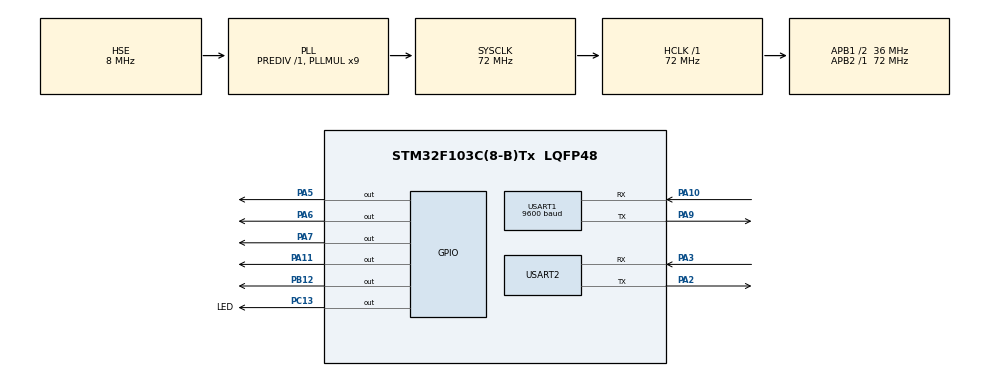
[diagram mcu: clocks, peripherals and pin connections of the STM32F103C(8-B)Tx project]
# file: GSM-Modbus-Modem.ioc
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FREERTOS.Tasks01=defaultTask,0,128,StartDefaultTask,Default,NULL,Dynamic,NULL,NULL;modbusMastertas,0,128,modbusMasterSend,Default,NULL,Dynamic,NULL,NULL;modbusMaster,0,128,modbusMasterReception,Default,NULL,Dynamic,NULL,NULL
FREERTOS.configUSE_NEWLIB_REENTRANT=0
Mcu.Family=STM32F1
Mcu.Name=STM32F103C(8-B)Tx
Mcu.Package=LQFP48
NVIC.PriorityGroup=NVIC_PRIORITYGROUP_4
NVIC.TIM3_IRQn=true\:15\:0\:false\:false\:true\:false\:false\:true\:true
NVIC.TimeBase=TIM3_IRQn
NVIC.TimeBaseIP=TIM3
NVIC.USART1_IRQn=true\:5\:0\:false\:false\:true\:true\:true\:true\:true
PA10.Mode=Asynchronous
PA10.Signal=USART1_RX
PA11.Signal=GPIO_Output
PA13.Mode=Serial_Wire
PA13.Signal=SYS_JTMS-SWDIO
PA14.Mode=Serial_Wire
PA14.Signal=SYS_JTCK-SWCLK
PA2.Mode=Asynchronous
PA2.Signal=USART2_TX
PA3.Mode=Asynchronous
PA3.Signal=USART2_RX
PA5.Signal=GPIO_Output
PA6.Signal=GPIO_Output
PA7.Signal=GPIO_Output
PA9.Mode=Asynchronous
PA9.Signal=USART1_TX
PB12.Signal=GPIO_Output
PC13-TAMPER-RTC.GPIO_Label=LED
PC13-TAMPER-RTC.Signal=GPIO_Output
PC14-OSC32_IN.Mode=LSE-External-Oscillator
PC14-OSC32_IN.Signal=RCC_OSC32_IN
PC15-OSC32_OUT.Mode=LSE-External-Oscillator
PC15-OSC32_OUT.Signal=RCC_OSC32_OUT
PD0-OSC_IN.Mode=HSE-External-Oscillator
PD0-OSC_IN.Signal=RCC_OSC_IN
PD1-OSC_OUT.Mode=HSE-External-Oscillator
PD1-OSC_OUT.Signal=RCC_OSC_OUT
ProjectManager.HeapSize=0x200
ProjectManager.StackSize=0x400
ProjectManager.TargetToolchain=STM32CubeIDE
RCC.AHBFreq_Value=72000000
RCC.APB1CLKDivider=RCC_HCLK_DIV2
RCC.APB1Freq_Value=36000000
RCC.APB1TimFreq_Value=72000000
RCC.APB2Freq_Value=72000000
RCC.APB2TimFreq_Value=72000000
RCC.HCLKFreq_Value=72000000
RCC.PLLMUL=RCC_PLL_MUL9
RCC.PLLSourceVirtual=RCC_PLLSOURCE_HSE
RCC.SYSCLKFreq_VALUE=72000000
RCC.SYSCLKSource=RCC_SYSCLKSOURCE_PLLCLK
RCC.USBFreq_Value=72000000
USART1.BaudRate=9600
USART1.StopBits=STOPBITS_2
USART1.VirtualMode=VM_ASYNC
USART2.VirtualMode=VM_ASYNC
VP_FREERTOS_VS_CMSIS_V1.Mode=CMSIS_V1
VP_SYS_VS_tim3.Mode=TIM3
board=custom

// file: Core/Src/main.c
/* USER CODE BEGIN Header */
/**
  ******************************************************************************
  * @file           : main.c
  * @brief          : Main program body
  ******************************************************************************
  * @attention
  *
  * Copyright (c) 2024 STMicroelectronics.
  * All rights reserved.
  *
  * This software is licensed under terms that can be found in the LICENSE file
  * in the root directory of this software component.
  * If no LICENSE file comes with this software, it is provided AS-IS.
  *
  ******************************************************************************
  */
/* USER CODE END Header */
#include "main.h"
#include "cmsis_os.h"
#include "stm32f1xx_hal_conf.h"

UART_HandleTypeDef huart1;
UART_HandleTypeDef huart2;

osThreadId defaultTaskHandle;
osThreadId modbusMastertasHandle;
osThreadId modbusMasterHandle;

void SystemClock_Config(void);
static void MX_GPIO_Init(void);
static void MX_USART1_UART_Init(void);
static void MX_USART2_UART_Init(void);
void StartDefaultTask(void const * argument);
void modbusMasterSend(void const * argument);
void modbusMasterReception(void const * argument);
//void sim800_Init(UART_HandleTypeDef *huart);
uint8_t buffer[] = {0x6E, 0x03, 0x14, 0x10, 0x00, 0x01, 0x89, 0x60};
uint8_t receiveBuffer[11];

int main(void)
{

  /* MCU Configuration--------------------------------------------------------*/

  /* Reset of all peripherals, Initializes the Flash interface and the Systick. */
  HAL_Init();

  /* Configure the system clock */
  SystemClock_Config();

  /* Initialize all configured peripherals */
  MX_GPIO_Init();
  MX_USART1_UART_Init();
  MX_USART2_UART_Init();
  //sim800_Init(&huart2);

  /* Create the thread(s) */
  /* definition and creation of defaultTask */
  osThreadDef(defaultTask, StartDefaultTask, osPriorityNormal, 0, 128);
  defaultTaskHandle = osThreadCreate(osThread(defaultTask), NULL);

  /* definition and creation of modbusMastertas */
  osThreadDef(modbusMastertas, modbusMasterSend, osPriorityNormal, 0, 128);
  modbusMastertasHandle = osThreadCreate(osThread(modbusMastertas), NULL);

  /* definition and creation of modbusMaster */
  osThreadDef(modbusMaster, modbusMasterReception, osPriorityNormal, 0, 128);
  modbusMasterHandle = osThreadCreate(osThread(modbusMaster), NULL);

  /* Start scheduler */
  osKernelStart();

  /* We should never get here as control is now taken by the scheduler */
  /* Infinite loop */
  while (1)
  {

  }
}

void SystemClock_Config(void)
{
  RCC_OscInitTypeDef RCC_OscInitStruct = {0};
  RCC_ClkInitTypeDef RCC_ClkInitStruct = {0};

  /** Initializes the RCC Oscillators according to the specified parameters
  * in the RCC_OscInitTypeDef structure.
  */
  RCC_OscInitStruct.OscillatorType = RCC_OSCILLATORTYPE_HSE;
  RCC_OscInitStruct.HSEState = RCC_HSE_ON;
  RCC_OscInitStruct.HSEPredivValue = RCC_HSE_PREDIV_DIV1;
  RCC_OscInitStruct.HSIState = RCC_HSI_ON;
  RCC_OscInitStruct.PLL.PLLState = RCC_PLL_ON;
  RCC_OscInitStruct.PLL.PLLSource = RCC_PLLSOURCE_HSE;
  RCC_OscInitStruct.PLL.PLLMUL = RCC_PLL_MUL9;
  if (HAL_RCC_OscConfig(&RCC_OscInitStruct) != HAL_OK)
  {
    Error_Handler();
  }

  /** Initializes the CPU, AHB and APB buses clocks
  */
  RCC_ClkInitStruct.ClockType = RCC_CLOCKTYPE_HCLK|RCC_CLOCKTYPE_SYSCLK
                              |RCC_CLOCKTYPE_PCLK1|RCC_CLOCKTYPE_PCLK2;
  RCC_ClkInitStruct.SYSCLKSource = RCC_SYSCLKSOURCE_PLLCLK;
  RCC_ClkInitStruct.AHBCLKDivider = RCC_SYSCLK_DIV1;
  RCC_ClkInitStruct.APB1CLKDivider = RCC_HCLK_DIV2;
  RCC_ClkInitStruct.APB2CLKDivider = RCC_HCLK_DIV1;

  if (HAL_RCC_ClockConfig(&RCC_ClkInitStruct, FLASH_LATENCY_2) != HAL_OK)
  {
    Error_Handler();
  }
}

static void MX_USART1_UART_Init(void)
{

  huart1.Instance = USART1;
  huart1.Init.BaudRate = 9600;
  huart1.Init.WordLength = UART_WORDLENGTH_8B;
  huart1.Init.StopBits = UART_STOPBITS_2;
  huart1.Init.Parity = UART_PARITY_NONE;
  huart1.Init.Mode = UART_MODE_TX_RX;
  huart1.Init.HwFlowCtl = UART_HWCONTROL_NONE;
  huart1.Init.OverSampling = UART_OVERSAMPLING_16;
  if (HAL_UART_Init(&huart1) != HAL_OK)
  {
    Error_Handler();
  }

}
static void MX_USART2_UART_Init(void)
{

  huart2.Instance = USART2;
  huart2.Init.BaudRate = 115200;
  huart2.Init.WordLength = UART_WORDLENGTH_8B;
  huart2.Init.StopBits = UART_STOPBITS_1;
  huart2.Init.Parity = UART_PARITY_NONE;
  huart2.Init.Mode = UART_MODE_TX_RX;
  huart2.Init.HwFlowCtl = UART_HWCONTROL_NONE;
  huart2.Init.OverSampling = UART_OVERSAMPLING_16;
  if (HAL_UART_Init(&huart2) != HAL_OK)
  {
    Error_Handler();
  }

}

static void MX_GPIO_Init(void)
{
  GPIO_InitTypeDef GPIO_InitStruct = {0};

  /* GPIO Ports Clock Enable */
  __HAL_RCC_GPIOC_CLK_ENABLE();
  __HAL_RCC_GPIOD_CLK_ENABLE();
  __HAL_RCC_GPIOA_CLK_ENABLE();
  __HAL_RCC_GPIOB_CLK_ENABLE();

  /*Configure GPIO pin Output Level */
  HAL_GPIO_WritePin(LED_GPIO_Port, LED_Pin, GPIO_PIN_RESET);

  /*Configure GPIO pin Output Level */
  HAL_GPIO_WritePin(GPIOA, GPIO_PIN_5|GPIO_PIN_6|GPIO_PIN_7, GPIO_PIN_RESET);

  /*Configure GPIO pin Output Level */
  HAL_GPIO_WritePin(GPIOB, GPIO_PIN_12, GPIO_PIN_RESET);

  /*Configure GPIO pin : LED_Pin */
  GPIO_InitStruct.Pin = LED_Pin;
  GPIO_InitStruct.Mode = GPIO_MODE_OUTPUT_PP;
  GPIO_InitStruct.Pull = GPIO_NOPULL;
  GPIO_InitStruct.Speed = GPIO_SPEED_FREQ_LOW;
  HAL_GPIO_Init(LED_GPIO_Port, &GPIO_InitStruct);

  /*Configure GPIO pins : PA5 PA6 PA7 PA11 */
  GPIO_InitStruct.Pin = GPIO_PIN_5|GPIO_PIN_6|GPIO_PIN_7|GPIO_PIN_11;
  GPIO_InitStruct.Mode = GPIO_MODE_OUTPUT_PP;
  GPIO_InitStruct.Pull = GPIO_NOPULL;
  GPIO_InitStruct.Speed = GPIO_SPEED_FREQ_LOW;
  HAL_GPIO_Init(GPIOA, &GPIO_InitStruct);
  HAL_GPIO_WritePin(GPIOA, GPIO_PIN_11, GPIO_PIN_SET);

  /*Configure GPIO pin : PB12 */
  GPIO_InitStruct.Pin = GPIO_PIN_12;
  GPIO_InitStruct.Mode = GPIO_MODE_OUTPUT_PP;
  GPIO_InitStruct.Pull = GPIO_NOPULL;
  GPIO_InitStruct.Speed = GPIO_SPEED_FREQ_LOW;
  HAL_GPIO_Init(GPIOB, &GPIO_InitStruct);

}

/*void sim800_Init(UART_HandleTypeDef *huart){
	HAL_UART_Transmit(&huart, (uint8_t*)"AT+CPIN?", 13, 5);
	HAL_Delay(5);
	HAL_UART_Transmit(&huart, (uint8_t*)"AT+CSQ", 13, 5);
	HAL_Delay(5);
	HAL_UART_Transmit(&huart, (uint8_t*)"AT+CREG?", 13, 5);
	HAL_Delay(5);
	HAL_UART_Transmit(&huart, (uint8_t*)"AT+CGATT?", 13, 5);
	HAL_Delay(5);
	HAL_UART_Transmit(&huart, (uint8_t*)"AT+CIPMODE=0", 13, 5);
	HAL_Delay(5);
	HAL_UART_Transmit(&huart, (uint8_t*)"AT+CIPMUX=0", 13, 5);
	HAL_Delay(5);
	HAL_UART_Transmit(&huart, (uint8_t*)"AT+CIPSTATUS", 13, 5);
	HAL_Delay(5);
	HAL_UART_Transmit(&huart, (uint8_t*)"AT+CSTT=”inet.megafon.ru”", 13, 5);
	HAL_Delay(5);
	HAL_UART_Transmit(&huart, (uint8_t*)"AT+CIICR", 13, 5);
	HAL_Delay(5);
	HAL_UART_Transmit(&huart, (uint8_t*)"AT+CIPSTART=”TCP”,”212.17.25.235”,1080", 13, 5);
	HAL_Delay(5);
	HAL_UART_Transmit(&huart, (uint8_t*)"AT+CIPSEND=11", 13, 5);
}*/

void StartDefaultTask(void const * argument)
{
  /* USER CODE BEGIN 5 */
  /* Infinite loop */
  for(;;)
  {

	  HAL_GPIO_WritePin(GPIOC, GPIO_PIN_13, GPIO_PIN_RESET);
	  osDelay(1000);
	  HAL_GPIO_WritePin(GPIOC, GPIO_PIN_13, GPIO_PIN_SET);
	  osDelay(1000);
	  osDelay(1);
  }
  /* USER CODE END 5 */
}

void modbusMasterSend(void const * argument)
{
  /* USER CODE BEGIN modbusMasterSend */
  /* Infinite loop */
	for(;;)
	{
		if (HAL_GPIO_ReadPin(GPIOA, GPIO_PIN_11) == 1){
			osDelay(50);
			for (int i = 0; i < 8; i++){
				HAL_UART_Transmit(&huart1, &buffer[i], 1, 1);
				osDelay(1);
			}
			HAL_GPIO_WritePin(GPIOA, GPIO_PIN_11, GPIO_PIN_RESET);
			HAL_UART_Receive_IT(&huart1, receiveBuffer, 11);
			osDelay(100);
			HAL_UART_Transmit(&huart2, &receiveBuffer, 11, 5);
			HAL_GPIO_WritePin(GPIOA, GPIO_PIN_11, GPIO_PIN_SET);
			HAL_GPIO_WritePin(GPIOB, GPIO_PIN_12, GPIO_PIN_RESET);
			osDelay(1000);
			HAL_GPIO_WritePin(GPIOB, GPIO_PIN_12, GPIO_PIN_SET);
			osDelay(1000);
			HAL_GPIO_WritePin(GPIOB, GPIO_PIN_12, GPIO_PIN_RESET);
			osDelay(1000);
		}
		osDelay(1);
	}
	/*	HAL_GPIO_WritePin(GPIOC, GPIO_PIN_13, GPIO_PIN_SET);
		osDelay(1000);
		HAL_GPIO_WritePin(GPIOC, GPIO_PIN_13, GPIO_PIN_RESET);
		osDelay(1000);

	}*/

  /* USER CODE END modbusMasterSend */
}

void modbusMasterReception(void const * argument)
{
	for(;;)
	{
		osDelay(1);
	}
}

void HAL_TIM_PeriodElapsedCallback(TIM_HandleTypeDef *htim)
{
  if (htim->Instance == TIM3) {
    HAL_IncTick();
  }
}

void Error_Handler(void)
{
  __disable_irq();
  while (1)
  {
  }
}
